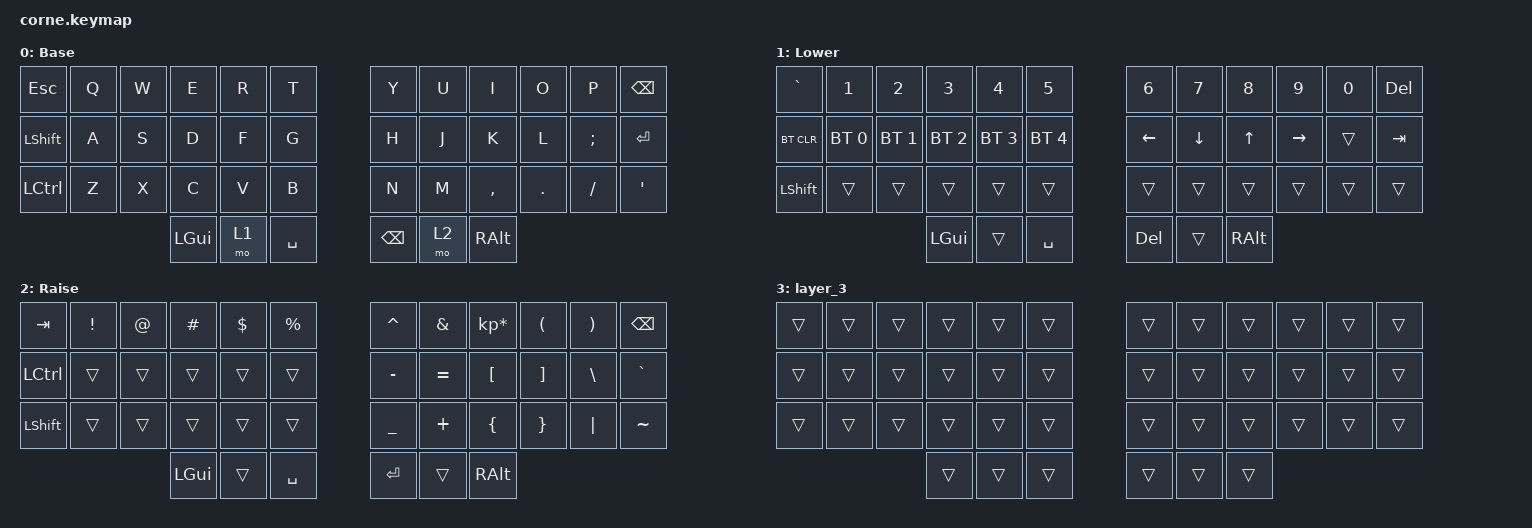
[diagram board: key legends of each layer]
/*
 * Copyright (c) 2020 The ZMK Contributors
 *
 * SPDX-License-Identifier: MIT
 */

#include <behaviors.dtsi>
#include <dt-bindings/zmk/bt.h>
#include <dt-bindings/zmk/keys.h>

/ {
    keymap {
        compatible = "zmk,keymap";

        default_layer {
            // -----------------------------------------------------------------------------------------
            // |  TAB |  Q  |  W  |  E  |  R  |  T  |   |  Y  |  U   |  I  |  O  |  P  | BKSP |
            // | CTRL |  A  |  S  |  D  |  F  |  G  |   |  H  |  J   |  K  |  L  |  ;  |  '   |
            // | SHFT |  Z  |  X  |  C  |  V  |  B  |   |  N  |  M   |  ,  |  .  |  /  | ESC  |
            //                    | GUI | LWR | SPC |   | ENT | RSE  | ALT |

            display-name = "Base";
            bindings = <
&kp ESC           &kp Q  &kp W  &kp E     &kp R  &kp T        &kp Y          &kp U  &kp I      &kp O    &kp P     &kp BACKSPACE
&kp LEFT_SHIFT    &kp A  &kp S  &kp D     &kp F  &kp G        &kp H          &kp J  &kp K      &kp L    &kp SEMI  &kp ENTER
&kp LEFT_CONTROL  &kp Z  &kp X  &kp C     &kp V  &kp B        &kp N          &kp M  &kp COMMA  &kp DOT  &kp FSLH  &kp SQT
                                &kp LGUI  &mo 1  &kp SPACE    &kp BACKSPACE  &mo 2  &kp RALT
            >;
        };

        lower_layer {
            // -----------------------------------------------------------------------------------------
            // |  TAB |  1  |  2  |  3  |  4  |  5  |   |  6  |  7  |  8  |  9  |  0  | BKSP |
            // | BTCLR| BT1 | BT2 | BT3 | BT4 | BT5 |   | LFT | DWN |  UP | RGT |     |      |
            // | SHFT |     |     |     |     |     |   |     |     |     |     |     |      |
            //                    | GUI |     | SPC |   | ENT |     | ALT |

            display-name = "Lower";
            bindings = <
&kp GRAVE   &kp N1        &kp N2        &kp N3        &kp N4        &kp N5          &kp N6    &kp N7    &kp N8    &kp N9     &kp N0  &kp DELETE
&bt BT_CLR  &bt BT_SEL 0  &bt BT_SEL 1  &bt BT_SEL 2  &bt BT_SEL 3  &bt BT_SEL 4    &kp LEFT  &kp DOWN  &kp UP    &kp RIGHT  &trans  &kp TAB
&kp LSHFT   &trans        &trans        &trans        &trans        &trans          &trans    &trans    &trans    &trans     &trans  &trans
                                        &kp LGUI      &trans        &kp SPACE       &kp DEL   &trans    &kp RALT
            >;
        };

        raise_layer {
            // -----------------------------------------------------------------------------------------
            // |  TAB |  !  |  @  |  #  |  $  |  %  |   |  ^  |  &  |  *  |  (  |  )  | BKSP |
            // | CTRL |     |     |     |     |     |   |  -  |  =  |  [  |  ]  |  \  |  `   |
            // | SHFT |     |     |     |     |     |   |  _  |  +  |  {  |  }  | "|" |  ~   |
            //                    | GUI |     | SPC |   | ENT |     | ALT |

            display-name = "Raise";
            bindings = <
&kp TAB    &kp EXCL  &kp AT  &kp HASH  &kp DLLR  &kp PRCNT    &kp CARET  &kp AMPS   &kp KP_MULTIPLY  &kp LPAR  &kp RPAR  &kp BSPC
&kp LCTRL  &trans    &trans  &trans    &trans    &trans       &kp MINUS  &kp EQUAL  &kp LBKT         &kp RBKT  &kp BSLH  &kp GRAVE
&kp LSHFT  &trans    &trans  &trans    &trans    &trans       &kp UNDER  &kp PLUS   &kp LBRC         &kp RBRC  &kp PIPE  &kp TILDE
                             &kp LGUI  &trans    &kp SPACE    &kp RET    &trans     &kp RALT
            >;
        };

        layer_3 {
            bindings = <
&trans  &trans  &trans  &trans  &trans  &trans    &trans  &trans  &trans  &trans  &trans  &trans
&trans  &trans  &trans  &trans  &trans  &trans    &trans  &trans  &trans  &trans  &trans  &trans
&trans  &trans  &trans  &trans  &trans  &trans    &trans  &trans  &trans  &trans  &trans  &trans
                        &trans  &trans  &trans    &trans  &trans  &trans
            >;
        };
    };
};
